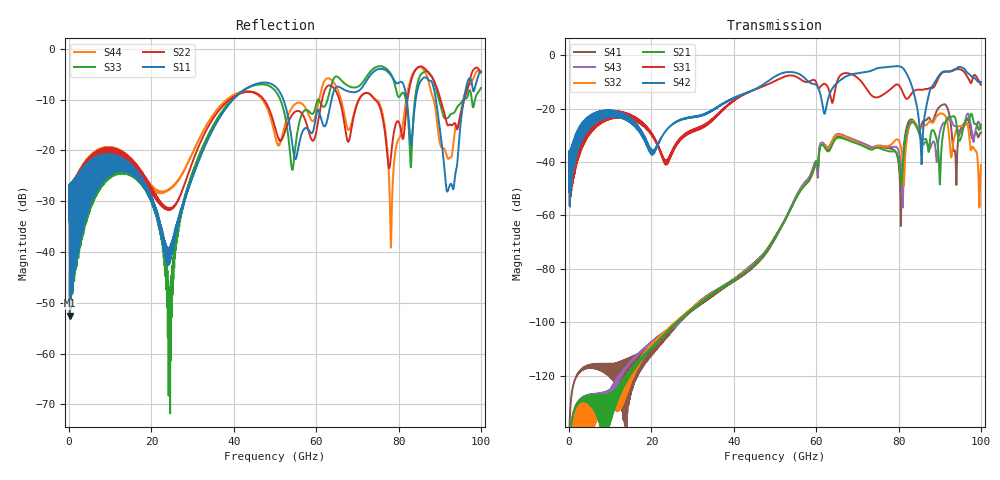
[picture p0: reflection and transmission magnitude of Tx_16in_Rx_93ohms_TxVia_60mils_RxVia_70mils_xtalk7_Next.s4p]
! Info: Touchstone file created by Circ.  Input file=Tx_16in_Rx_93ohms_TxVia_60mils_RxVia_70mils.circ
# Hz S RI R 50
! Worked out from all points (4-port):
!   10000 points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, 10 MHz to 100 GHz, reference 50 ohm
!   strongest paths, dB at 10 MHz, 25.01 GHz, 50.01 GHz, 75.01 GHz, 100 GHz:
!     S42: -50.5, -25.9, -8.0, -4.8, -10.0
!     S31: -51.3, -35.9, -9.7, -15.7, -11.1
!     S21: -167.5, -101.7, -68.1, -34.7, -26.0
!     S32: -170.6, -101.1, -68.1, -34.0, -41.2
!     S43: -154.7, -102.1, -68.2, -33.8, -27.5
!     S41: -150.5, -102.5, -68.8, -34.4, -29.0
!   lowest |S11| = -52.5 dB at 200 MHz (marker M1), VSWR 1.00, Z = 49.8 + j0.121 ohm
!   |S11| at or under -10 dB: start of sweep to 39.81 GHz; 52.04 GHz to 63.72 GHz (11.68 GHz wide, 20.2 % of centre); 89.08 GHz to 95.86 GHz (6.789 GHz wide, 7.34 % of centre) (the widest 3 of 4)
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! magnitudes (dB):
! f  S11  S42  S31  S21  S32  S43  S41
! 10 MHz  -33.3  -50.5  -51.3  -167.5  -170.6  -154.7  -150.5
! 200 MHz  -52.5  -45.5  -45.5  -145.7  -148.3  -145.2  -135.3
! 24.45 GHz  -39.0  -26.7  -38.9  -102.8  -101.8  -102.6  -104.2
! 44.31 GHz  -7.2  -13.3  -13.4  -79.3  -79.1  -78.5  -79.9
! 65.21 GHz  -7.4  -10.2  -9.3  -31.0  -29.9  -29.5  -30.5
! 78.18 GHz  -5.2  -4.3  -12.6  -36.1  -33.5  -34.4  -35.0
! 100 GHz  -4.4  -10.0  -11.1  -26.0  -41.2  -27.5  -29.0
